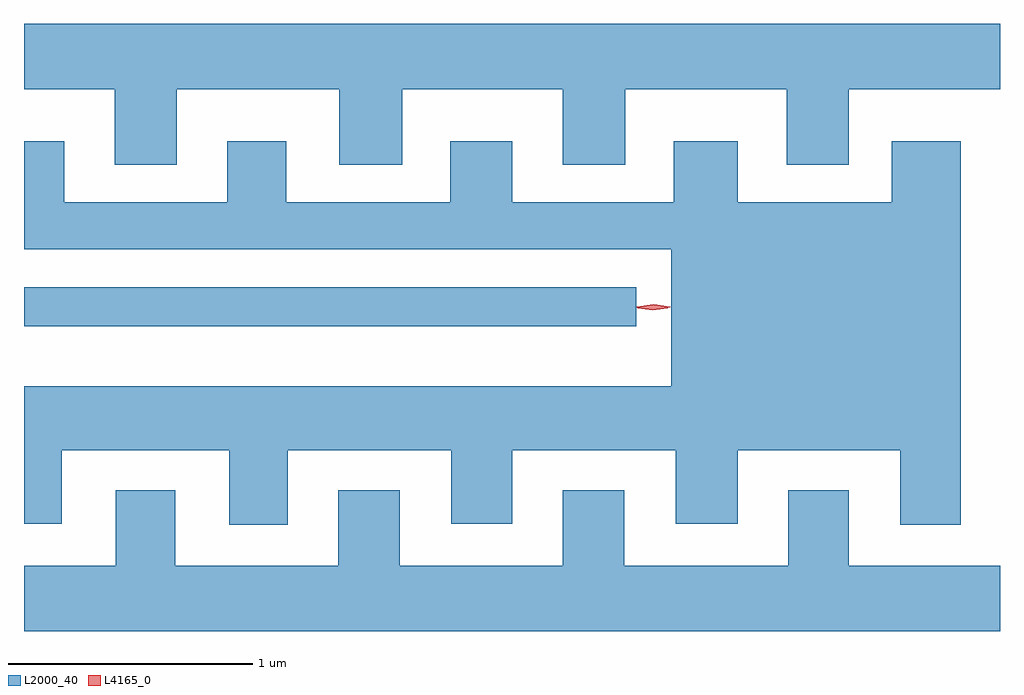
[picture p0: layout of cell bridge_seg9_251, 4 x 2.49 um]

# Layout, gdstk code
import gdstk
lib = gdstk.Library(unit=1e-6, precision=1e-09)
def R(c, l, rs):  # rectangles x0, y0, x1, y1
    for r in rs: c.add(gdstk.rectangle(r[:2], r[2:], *l))
def P(c, l, *ps):  # polygons
    for p in ps: c.add(gdstk.Polygon(p, *l))
L2000_40 = (2000, 40)
L4165_0 = (4165, 0)

bridge_seg9_251 = lib.new_cell('bridge_seg9_251')
R(bridge_seg9_251, L2000_40, [(1342.479,1990.846,1344.988,1991.004)])
P(bridge_seg9_251, L2000_40, [(1343.104,1991.816),(1343.771,1991.816),(1343.771,1991.506),(1344.029,1991.506),(1344.029,1991.816),(1344.686,1991.816),(1344.686,1991.506),(1344.944,1991.506),(1344.944,1991.816),(1345.606,1991.816),(1345.606,1991.506),(1345.859,1991.506),(1345.859,1991.816),(1346.479,1991.816),(1346.479,1992.084),(1342.479,1992.084),(1342.479,1991.816),(1342.851,1991.816),(1342.851,1991.506),(1343.104,1991.506)],
  [(1343.559,1990.336),(1344.231,1990.336),(1344.231,1990.036),(1344.479,1990.036),(1344.479,1990.336),(1345.151,1990.336),(1345.151,1990.036),(1345.404,1990.036),(1345.404,1990.336),(1346.071,1990.336),(1346.071,1990.031),(1346.319,1990.031),(1346.319,1991.604),(1346.036,1991.604),(1346.036,1991.354),(1345.404,1991.354),(1345.404,1991.604),(1345.141,1991.604),(1345.141,1991.354),(1344.479,1991.354),(1344.479,1991.604),(1344.226,1991.604),(1344.226,1991.354),(1343.554,1991.354),(1343.554,1991.604),(1343.311,1991.604),(1343.311,1991.354),(1342.644,1991.354),(1342.644,1991.604),(1342.479,1991.604),(1342.479,1991.161),(1345.131,1991.161),(1345.131,1990.599),(1342.479,1990.599),(1342.479,1990.036),(1342.634,1990.036),(1342.634,1990.336),(1343.321,1990.336),(1343.321,1990.031),(1343.559,1990.031)],
  [(1346.479,1989.864),(1345.859,1989.864),(1345.859,1990.174),(1345.611,1990.174),(1345.611,1989.864),(1344.939,1989.864),(1344.939,1990.174),(1344.686,1990.174),(1344.686,1989.864),(1344.019,1989.864),(1344.019,1990.174),(1343.766,1990.174),(1343.766,1989.864),(1343.099,1989.864),(1343.099,1990.174),(1342.856,1990.174),(1342.856,1989.864),(1342.479,1989.864),(1342.479,1989.596),(1346.479,1989.596)])
P(bridge_seg9_251, L4165_0, [(1345.055,1990.91),(1344.994,1990.919),(1344.993,1990.92),(1344.994,1990.92),(1345.055,1990.93),(1345.117,1990.92),(1345.118,1990.92),(1345.117,1990.919)],
  [(1345.059,1990.915),(1344.99,1990.924),(1344.99,1990.925),(1344.99,1990.925),(1345.059,1990.935),(1345.128,1990.925),(1345.128,1990.925),(1345.128,1990.924)])

lib.write_gds('bridge_seg9_251.gds')
